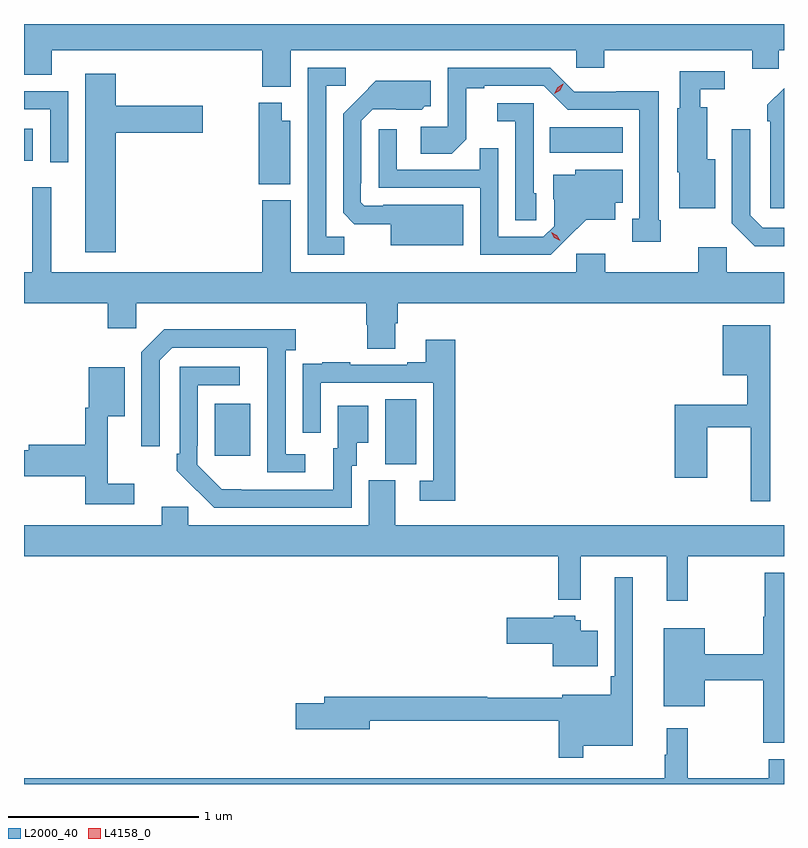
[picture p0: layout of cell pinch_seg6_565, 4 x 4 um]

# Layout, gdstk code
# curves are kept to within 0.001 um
import gdstk
lib = gdstk.Library(unit=1e-6, precision=1e-09)
def R(c, l, rs):  # rectangles x0, y0, x1, y1
    for r in rs: c.add(gdstk.rectangle(r[:2], r[2:], *l))
def P(c, l, *ps):  # polygons
    for p in ps: c.add(gdstk.Polygon(p, *l))
L2000_40 = (2000, 40)
L4158_0 = (4158, 0)

pinch_seg6_565 = lib.new_cell('pinch_seg6_565')
R(pinch_seg6_565, L2000_40, [(625.568,971.797,625.732,972.14), (624.671,971.841,624.859,972.115), (623.667,973.394,623.713,973.564), (626.434,973.436,626.818,973.57)])
P(pinch_seg6_565, L2000_40, [(625.072,973.976),(626.574,973.976),(626.574,973.883),(626.721,973.883),(626.721,973.976),(627.5,973.976),(627.5,973.878),(627.639,973.878),(627.639,973.976),(627.667,973.976),(627.667,974.114),(623.667,974.114),(623.667,973.846),(623.812,973.846),(623.812,973.976),(624.92,973.976),(624.92,973.784),(625.072,973.784)],
  [(625.353,972.995),(625.257,972.995),(625.257,973.788),(625.36,973.788),(625.36,973.884),(625.161,973.884),(625.161,972.9),(625.353,972.9)],
  [(627.017,973.081),(627.007,973.081),(627.007,973.76),(626.784,973.76),(626.784,973.758),(626.562,973.758),(626.436,973.884),(625.896,973.884),(625.896,973.572),(625.755,973.572),(625.755,973.432),(625.919,973.432),(625.995,973.508),(625.995,973.776),(626.089,973.776),(626.089,973.788),(626.403,973.788),(626.529,973.662),(626.906,973.662),(626.906,973.089),(626.867,973.089),(626.867,972.969),(627.017,972.969)],
  [(627.304,973.402),(627.262,973.402),(627.262,973.675),(627.226,973.675),(627.226,973.77),(627.355,973.77),(627.355,973.866),(627.117,973.866),(627.117,973.671),(627.104,973.671),(627.104,973.335),(627.116,973.335),(627.116,973.145),(627.304,973.145)],
  [(624.149,973.541),(624.607,973.541),(624.607,973.683),(624.149,973.683),(624.149,973.852),(623.99,973.852),(623.99,972.912),(624.149,972.912)],
  [(625.978,973.162),(625.558,973.162),(625.558,973.158),(625.458,973.158),(625.44,973.176),(625.44,973.276),(625.443,973.276),(625.443,973.605),(625.503,973.665),(625.76,973.664),(625.776,973.68),(625.807,973.68),(625.807,973.816),(625.519,973.816),(625.347,973.642),(625.347,973.12),(625.406,973.061),(625.598,973.061),(625.598,972.95),(625.978,972.95)],
  [(627.667,973.777),(627.579,973.689),(627.579,973.601),(627.594,973.601),(627.594,973.143),(627.667,973.143)],
  [(623.901,973.761),(623.667,973.761),(623.667,973.665),(623.805,973.665),(623.805,973.386),(623.901,973.386)],
  [(625.069,973.606),(625.024,973.606),(625.024,973.699),(624.902,973.699),(624.902,973.271),(625.069,973.271)],
  [(626.364,973.224),(626.349,973.224),(626.349,973.698),(626.157,973.698),(626.157,973.601),(626.253,973.601),(626.253,973.081),(626.364,973.081)],
  [(626.524,972.983),(626.627,973.085),(626.779,973.085),(626.779,973.172),(626.818,973.172),(626.818,973.348),(626.568,973.348),(626.568,973.321),(626.453,973.321),(626.453,973.192),(626.457,973.192),(626.457,973.05),(626.4,972.993),(626.163,972.993),(626.163,973.46),(626.065,973.46),(626.065,973.347),(625.629,973.347),(625.629,973.561),(625.533,973.561),(625.533,973.251),(626.067,973.251),(626.067,972.9),(626.44,972.9)],
  [(627.667,973.041),(627.555,973.041),(627.489,973.107),(627.489,973.561),(627.393,973.561),(627.393,973.065),(627.514,972.944),(627.667,972.944)],
  [(625.621,972.538),(625.634,972.538),(625.634,972.644),(627.667,972.644),(627.667,972.808),(627.366,972.808),(627.366,972.94),(627.215,972.94),(627.215,972.808),(626.726,972.808),(626.726,972.904),(626.574,972.904),(626.574,972.808),(625.072,972.808),(625.072,973.186),(624.92,973.186),(624.92,972.808),(623.81,972.808),(623.81,973.255),(623.711,973.255),(623.711,972.808),(623.667,972.808),(623.667,972.644),(624.107,972.644),(624.107,972.513),(624.258,972.513),(624.258,972.644),(625.469,972.644),(625.469,972.531),(625.474,972.531),(625.474,972.406),(625.621,972.406)],
  [(627.595,972.529),(627.344,972.529),(627.344,972.266),(627.474,972.266),(627.474,972.109),(627.092,972.109),(627.092,971.727),(627.262,971.727),(627.262,971.992),(627.491,971.992),(627.491,971.601),(627.595,971.601)],
  [(625.147,971.85),(625.044,971.85),(625.044,972.398),(625.096,972.398),(625.096,972.508),(624.406,972.508),(624.285,972.387),(624.285,971.892),(624.381,971.892),(624.381,972.345),(624.447,972.411),(624.947,972.411),(624.948,971.754),(625.147,971.754)],
  [(625.937,972.451),(625.781,972.451),(625.781,972.334),(625.685,972.334),(625.685,972.321),(625.385,972.321),(625.385,972.334),(625.237,972.334),(625.237,972.327),(625.135,972.327),(625.135,972.218),(625.134,972.218),(625.134,971.964),(625.23,971.964),(625.23,972.225),(625.821,972.225),(625.821,971.709),(625.749,971.709),(625.749,971.604),(625.937,971.604)],
  [(625.392,971.79),(625.417,971.79),(625.417,971.909),(625.48,971.909),(625.48,972.106),(625.319,972.106),(625.319,971.88),(625.295,971.88),(625.295,971.664),(624.708,971.665),(624.579,971.793),(624.579,971.893),(624.582,971.893),(624.582,972.213),(624.802,972.213),(624.802,972.309),(624.486,972.309),(624.486,971.851),(624.471,971.851),(624.471,971.763),(624.668,971.568),(625.392,971.568)],
  [(624.247,971.695),(624.107,971.695),(624.107,972.05),(624.196,972.05),(624.196,972.307),(624.008,972.307),(624.008,972.093),(623.989,972.093),(623.989,971.9),(623.693,971.9),(623.693,971.87),(623.667,971.87),(623.667,971.735),(623.989,971.735),(623.989,971.586),(624.247,971.586)],
  [(625.481,971.712),(625.481,971.476),(624.531,971.476),(624.531,971.574),(624.392,971.574),(624.392,971.476),(623.667,971.476),(623.667,971.312),(626.479,971.312),(626.479,971.084),(626.597,971.084),(626.597,971.312),(627.05,971.312),(627.05,971.079),(627.16,971.079),(627.16,971.312),(627.667,971.312),(627.667,971.476),(625.621,971.476),(625.621,971.712)],
  [(627.667,971.227),(627.566,971.227),(627.566,970.994),(627.559,970.994),(627.559,970.796),(627.25,970.796),(627.25,970.933),(627.035,970.933),(627.035,970.523),(627.25,970.523),(627.25,970.66),(627.559,970.66),(627.559,970.331),(627.667,970.331)],
  [(626.611,970.316),(626.872,970.316),(626.872,971.203),(626.775,971.203),(626.775,970.681),(626.755,970.681),(626.755,970.585),(626.501,970.585),(626.501,970.567),(626.105,970.567),(626.105,970.574),(625.247,970.574),(625.247,970.538),(625.098,970.538),(625.098,970.403),(625.486,970.403),(625.486,970.446),(626.482,970.446),(626.482,970.251),(626.611,970.251)],
  [(626.686,970.921),(626.596,970.921),(626.596,970.977),(626.568,970.977),(626.568,970.999),(626.454,970.999),(626.454,970.989),(626.208,970.989),(626.208,970.852),(626.45,970.852),(626.45,970.733),(626.686,970.733)],
  [(627.667,970.243),(627.586,970.243),(627.586,970.144),(627.16,970.144),(627.16,970.408),(627.05,970.408),(627.05,970.268),(627.039,970.268),(627.039,970.144),(623.667,970.144),(623.667,970.114),(627.667,970.114)])
P(pinch_seg6_565, L4158_0, [(626.457,973.747),(626.457,973.748),(626.475,973.78),(626.506,973.799),(626.506,973.799),(626.506,973.799),(626.489,973.766),(626.457,973.747)],
  [(626.489,972.972),(626.458,972.988),(626.441,973.018),(626.441,973.018),(626.442,973.018),(626.472,973.002),(626.489,972.972),(626.489,972.972)])

lib.write_gds('pinch_seg6_565.gds')
